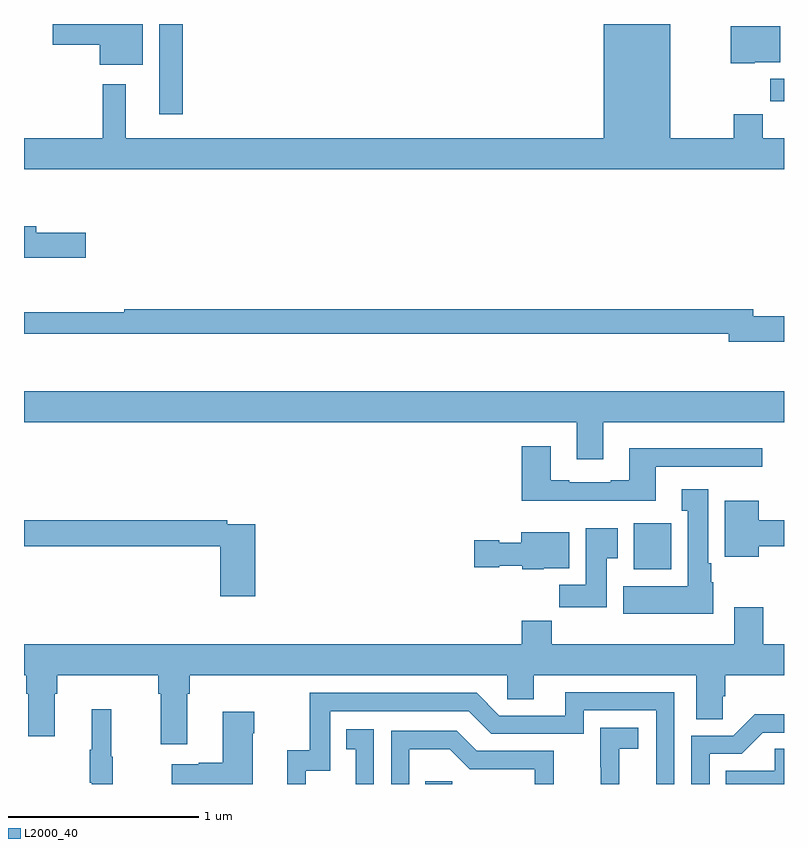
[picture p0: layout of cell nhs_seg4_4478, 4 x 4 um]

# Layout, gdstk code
import gdstk
lib = gdstk.Library(unit=1e-6, precision=1e-09)
def R(c, l, rs):  # rectangles x0, y0, x1, y1
    for r in rs: c.add(gdstk.rectangle(r[:2], r[2:], *l))
def P(c, l, *ps):  # polygons
    for p in ps: c.add(gdstk.Polygon(p, *l))
L2000_40 = (2000, 40)

nhs_seg4_4478 = lib.new_cell('nhs_seg4_4478')
R(nhs_seg4_4478, L2000_40, [(353.113,810.9,353.253,810.915), (354.209,812.03,354.406,812.272), (351.713,814.425,351.835,814.9), (354.928,814.494,355,814.612)])
P(nhs_seg4_4478, L2000_40, [(351.625,814.9),(351.15,814.9),(351.15,814.792),(351.398,814.792),(351.398,814.685),(351.625,814.685)],
  [(355,814.3),(354.887,814.3),(354.887,814.424),(354.736,814.424),(354.736,814.3),(354.4,814.3),(354.4,814.9),(354.05,814.9),(354.05,814.3),(351.535,814.3),(351.535,814.582),(351.414,814.582),(351.414,814.3),(351,814.3),(351,814.136),(355,814.136)],
  [(354.846,814.7),(354.979,814.7),(354.979,814.888),(354.721,814.888),(354.721,814.694),(354.846,814.694)],
  [(351.325,813.801),(351.064,813.801),(351.064,813.835),(351,813.835),(351,813.671),(351.325,813.671)],
  [(355,813.362),(354.838,813.362),(354.838,813.398),(351.527,813.398),(351.527,813.383),(351,813.383),(351,813.27),(354.71,813.27),(354.71,813.227),(355,813.227)],
  [(354.049,812.804),(355,812.804),(355,812.968),(351,812.968),(351,812.804),(353.909,812.804),(353.909,812.61),(354.049,812.61)],
  [(354.325,812.571),(354.886,812.571),(354.886,812.668),(354.185,812.668),(354.185,812.5),(354.089,812.5),(354.089,812.487),(353.869,812.487),(353.869,812.5),(353.773,812.5),(353.773,812.677),(353.621,812.677),(353.621,812.39),(354.325,812.39)],
  [(354.628,811.962),(354.616,811.962),(354.616,812.062),(354.601,812.062),(354.601,812.452),(354.461,812.452),(354.461,812.339),(354.494,812.339),(354.494,811.942),(354.155,811.942),(354.155,811.796),(354.628,811.796)],
  [(354.868,812.152),(355,812.152),(355,812.288),(354.868,812.288),(354.868,812.392),(354.689,812.392),(354.689,812.096),(354.868,812.096)],
  [(352.217,812.268),(352.07,812.268),(352.07,812.288),(351,812.288),(351,812.152),(352.034,812.152),(352.034,811.887),(352.217,811.887)],
  [(354.067,812.089),(354.124,812.089),(354.124,812.245),(353.957,812.245),(353.957,811.948),(353.818,811.948),(353.818,811.83),(354.067,811.83)],
  [(353.736,812.036),(353.869,812.036),(353.869,812.224),(353.618,812.224),(353.618,812.17),(353.502,812.17),(353.502,812.183),(353.37,812.183),(353.37,812.041),(353.502,812.041),(353.502,812.048),(353.622,812.048),(353.622,812.03),(353.736,812.03)],
  [(351.859,811.376),(351.872,811.376),(351.872,811.472),(353.544,811.472),(353.544,811.345),(353.683,811.345),(353.683,811.472),(354.539,811.472),(354.539,811.24),(354.678,811.24),(354.678,811.363),(354.692,811.363),(354.692,811.472),(355,811.472),(355,811.636),(354.89,811.636),(354.89,811.831),(354.737,811.831),(354.737,811.636),(353.777,811.636),(353.777,811.76),(353.621,811.76),(353.621,811.636),(351,811.636),(351,811.472),(351.011,811.472),(351.011,811.376),(351.023,811.376),(351.023,811.152),(351.163,811.152),(351.163,811.376),(351.176,811.376),(351.176,811.472),(351.707,811.472),(351.707,811.376),(351.719,811.376),(351.719,811.11),(351.859,811.11)],
  [(352.482,810.969),(352.611,810.969),(352.611,811.284),(353.34,811.284),(353.46,811.164),(353.946,811.164),(353.946,811.287),(354.327,811.287),(354.327,810.9),(354.423,810.9),(354.423,811.383),(353.849,811.383),(353.849,811.26),(353.502,811.26),(353.382,811.38),(352.503,811.38),(352.503,811.078),(352.385,811.078),(352.385,810.9),(352.482,810.9)],
  [(351.466,811.044),(351.458,811.044),(351.458,811.294),(351.356,811.294),(351.356,811.081),(351.345,811.081),(351.345,810.907),(351.356,810.907),(351.356,810.9),(351.466,810.9)],
  [(352.204,811.166),(352.212,811.166),(352.212,811.279),(352.046,811.279),(352.046,811.013),(351.92,811.013),(351.92,811.003),(351.777,811.003),(351.777,810.9),(352.204,810.9)],
  [(354.609,811.059),(354.778,811.059),(354.889,811.17),(355,811.17),(355,811.268),(354.845,811.268),(354.732,811.155),(354.513,811.155),(354.513,810.9),(354.609,810.9)],
  [(354.134,811.085),(354.232,811.085),(354.232,811.195),(354.034,811.195),(354.034,810.989),(354.035,810.989),(354.035,810.9),(354.134,810.9)],
  [(352.842,811.189),(352.696,811.189),(352.696,811.083),(352.745,811.083),(352.745,810.9),(352.842,810.9)],
  [(353.028,811.082),(353.242,811.082),(353.346,810.978),(353.688,810.978),(353.688,810.9),(353.787,810.9),(353.787,811.074),(353.383,811.074),(353.278,811.179),(352.932,811.179),(352.932,810.9),(353.028,810.9)],
  [(355,811.085),(354.951,811.085),(354.951,810.97),(354.694,810.97),(354.694,810.9),(355,810.9)])

lib.write_gds('nhs_seg4_4478.gds')
